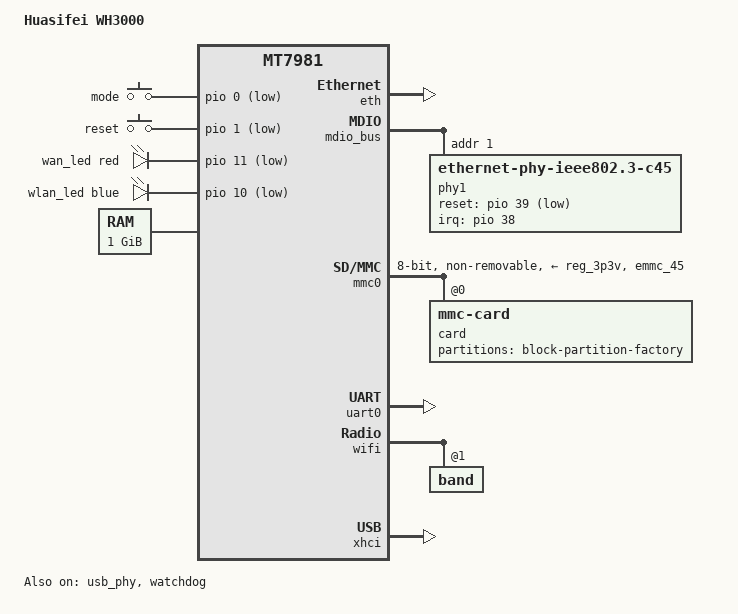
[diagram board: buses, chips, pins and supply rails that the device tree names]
// SPDX-License-Identifier: GPL-2.0-or-later OR MIT

/dts-v1/;
#include <dt-bindings/gpio/gpio.h>
#include <dt-bindings/input/input.h>
#include <dt-bindings/leds/common.h>

#include "mt7981.dtsi"

/ {
	model = "Huasifei WH3000";
	compatible = "huasifei,wh3000", "mediatek,mt7981";

	aliases {
		serial0 = &uart0;
		led-boot = &wlan_led;
		led-failsafe = &wlan_led;
		led-upgrade = &wlan_led;
	};

	chosen {
		bootargs = "root=PARTLABEL=rootfs rootwait";
		stdout-path = "serial0:115200n8";
	};

	gpio-keys {
		compatible = "gpio-keys";

		button-mode {
			label = "mode";
			linux,code = <BTN_0>;
			linux,input-type = <EV_SW>;
			gpios = <&pio 0 GPIO_ACTIVE_LOW>;
			debounce-interval = <60>;
		};

		button-reset {
			label = "reset";
			linux,code = <KEY_RESTART>;
			gpios = <&pio 1 GPIO_ACTIVE_LOW>;
		};
	};

	gpio-leds {
		compatible = "gpio-leds";

		wan_led: led-0 {
			function = LED_FUNCTION_WAN;
			color = <LED_COLOR_ID_RED>;
			gpios = <&pio 11 GPIO_ACTIVE_LOW>;
		};

		wlan_led: led-1 {
			function = LED_FUNCTION_WLAN;
			color = <LED_COLOR_ID_BLUE>;
			gpios = <&pio 10 GPIO_ACTIVE_LOW>;
			linux,default-trigger = "phy1tpt";
		};
	};

	memory@40000000 {
		reg = <0 0x40000000 0 0x40000000>;
	};
};

&eth {
	pinctrl-names = "default";
	pinctrl-0 = <&mdio_pins>;
	status = "okay";

	gmac0: mac@0 {
		compatible = "mediatek,eth-mac";
		reg = <0>;
		nvmem-cells = <&macaddr_factory_4 2>;
		nvmem-cell-names = "mac-address";
		phy-mode = "2500base-x";
		phy-handle = <&phy1>;
	};

	gmac1: mac@1 {
		compatible = "mediatek,eth-mac";
		reg = <1>;
		nvmem-cells = <&macaddr_factory_4 3>;
		nvmem-cell-names = "mac-address";
		phy-mode = "gmii";
		phy-handle = <&int_gbe_phy>;
	};
};

&mdio_bus {
	phy1: ethernet-phy@1 {
		compatible = "ethernet-phy-ieee802.3-c45";
		reg = <1>;
		interrupts = <38 IRQ_TYPE_LEVEL_LOW>;
		interrupt-parent = <&pio>;
		reset-assert-us = <100000>;
		reset-deassert-us = <100000>;
		reset-gpios = <&pio 39 GPIO_ACTIVE_LOW>;
		realtek,aldps-enable;
	};
};

&mmc0 {
	bus-width = <8>;
	cap-mmc-highspeed;
	max-frequency = <52000000>;
	no-sd;
	no-sdio;
	non-removable;
	pinctrl-names = "default", "state_uhs";
	pinctrl-0 = <&mmc0_pins_default>;
	pinctrl-1 = <&mmc0_pins_uhs>;
	vmmc-supply = <&reg_3p3v>;
	status = "okay";

	card@0 {
		compatible = "mmc-card";
		reg = <0>;

		block {
			compatible = "block-device";

			partitions {
				block-partition-factory {
					partname = "factory";

					nvmem-layout {
						compatible = "fixed-layout";
						#address-cells = <1>;
						#size-cells = <1>;

						eeprom_factory_0: eeprom@0 {
							reg = <0x0 0x1000>;
						};

						macaddr_factory_4: macaddr@4 {
							compatible = "mac-base";
							reg = <0x4 0x6>;
							#nvmem-cell-cells = <1>;
						};
					};
				};
			};
		};
	};
};

&pio {
	mmc0_pins_default: mmc0-pins-default {
		mux {
			function = "flash";
			groups = "emmc_45";
		};
	};

	mmc0_pins_uhs: mmc0-pins-uhs {
		mux {
			function = "flash";
			groups = "emmc_45";
		};
	};
};

&uart0 {
	status = "okay";
};

&usb_phy {
	status = "okay";
};

&watchdog {
	status = "okay";
};

&wifi {
	nvmem-cells = <&eeprom_factory_0>;
	nvmem-cell-names = "eeprom";
	status = "okay";

	band@1 {
		reg = <1>;
		nvmem-cells = <&macaddr_factory_4 1>;
		nvmem-cell-names = "mac-address";
	};
};

&xhci {
	status = "okay";
};
